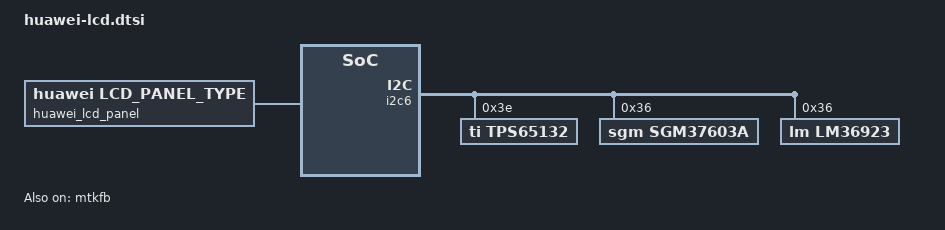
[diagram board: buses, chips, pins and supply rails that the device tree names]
#include "../lcdkit3.0/moa/devkit_lcd_kit.dtsi"

&huawei_lcd_panel {
		compatible = "huawei,lcd_panel_type";
		product_id = <1003>;
		detect_type = <2>; /*0:DETECT_GPIOID  1:DETECT_CHIPID  2:DETECT_LCD_TYPE */
		gpio_id = <169 178>; /*ID0 ID1*/
		support_lcd_type = "LCD_KIT";
		iovcc_ctrl_mode = <1>;
};

/* DISPSYS GPIO standardization */
&pio {
	mtkfb_pins_lcm_reset0: lcm_rst_out0_gpio {
		pins_cmd_dat {
			pinmux = <PINMUX_GPIO45__FUNC_GPIO45>;
			slew-rate = <1>;
			output-low;
		};
	};

	mtkfb_pins_lcm_reset1: lcm_rst_out1_gpio {
		pins_cmd_dat {
			pinmux = <PINMUX_GPIO45__FUNC_GPIO45>;
			slew-rate = <1>;
			output-high;
		};
	};
};

&mtkfb {
	pinctrl-names = "lcm_rst_out0_gpio", "lcm_rst_out1_gpio";
	pinctrl-0 = <&mtkfb_pins_lcm_reset0>;
	pinctrl-1 = <&mtkfb_pins_lcm_reset1>;
	status = "okay";
};

&i2c6{
	tps65132@3e {
		compatible = "ti,tps65132";
		reg = <0x3e>;
		tps65132_i2c_bus_id = <6>;
		tps65132_support = <1>;
	};

	sgm37603a@36 {
		compatible = "sgm,sgm37603a";
		reg = <0x36>;
		sgm37603a_i2c_bus_id = <6>;
		sgm37603a_support = <1>;
		sgm37603a_hw_enable = <1>;
		sgm37603a_hw_en_gpio = <168>;
		bl_on_lk_mdelay = <2>;
		bl_level = <3440>;
		sgm37603a_reg_brightness_conctrol = <0x05>;
		sgm37603a_reg_lsb = <0x00>;
		sgm37603a_reg_msb = <0x00>;
		sgm37603a_reg_leds_config = <0x07>;
	};

	lm36923@36 {
		compatible = "lm,lm36923";
		reg = <0x36>;
		lm36923_i2c_bus_id = <6>;
		lm36923_support = <1>;
		lm36923_hw_enable = <1>;
		lm36923_hw_en_gpio = <168>;
		bl_on_lk_mdelay = <0>;
		bl_level = <1990>;
		lm36923_reg_brightness_conctrol = <0x81>;
		lm36923_reg_lsb = <0x00>;
		lm36923_reg_msb = <0x00>;
		lm36923_reg_leds_config = <0x07>;
	};
};
